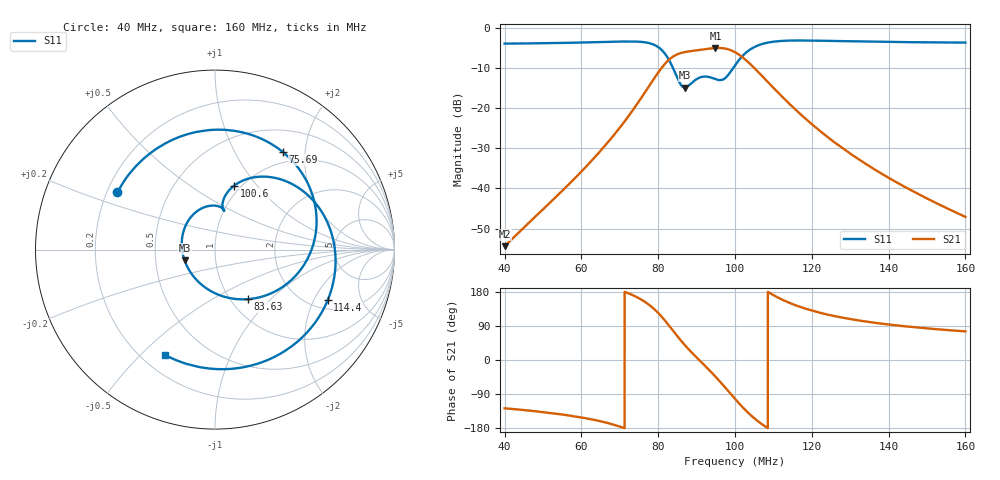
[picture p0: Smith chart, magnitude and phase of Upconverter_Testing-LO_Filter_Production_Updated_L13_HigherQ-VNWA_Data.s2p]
! ListType=Lin
# MHZ S DB R 50
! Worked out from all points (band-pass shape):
!   4096 points, 40 MHz to 160 MHz, reference 50 ohm
!   highest |S21| = -5.08 dB at 94.92 MHz (marker M1); lowest = -54.3 dB at 40 MHz (marker M2)
!   |S21| within 3 dB of the highest: 82.72 MHz to 102.8 MHz (20.11 MHz wide, 21.7 % of centre)
!   lowest |S11| = -14.9 dB at 86.89 MHz (marker M3), VSWR 1.44, Z = 35.3 - j4.33 ohm
!   |S11| at or under -10 dB: 83.82 MHz to 99.57 MHz (15.76 MHz wide, 17.2 % of centre)
!   S12 and S22 are empty: the file has one direction only
!   S11 on the Smith chart (normalised r, x): 40 MHz: 0.24, +0.26; 75.69 MHz: 0.82, +1.59; 83.63 MHz: 1.19, -0.74; 100.6 MHz: 0.93, +0.77; 114.4 MHz: 2.43, -2.59; 160 MHz: 0.29, -0.59
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40  -4.00 149.5  -54.34 -127.6  -3000.00 -90.0  -3000.00 -90.0
60.01465  -3.74 119.0  -35.77 -151.7  -3000.00 -90.0  -3000.00 -90.0
70.30037  -3.49 86.7  -24.52 -176.6  -3000.00 -90.0  -3000.00 -90.0
75.69231  -3.58 55.2  -17.35 158.9  -3000.00 -90.0  -3000.00 -90.0
77.8022  -3.92 36.4  -14.29 144.2  -3000.00 -90.0  -3000.00 -90.0
80  -4.86 10.1  -11.18 124.2  -3000.00 -90.0  -3000.00 -90.0
81.64103  -6.36 -15.7  -9.15 105.6  -3000.00 -90.0  -3000.00 -90.0
83.6337  -9.62 -56.8  -7.37 80.1  -3000.00 -90.0  -3000.00 -90.0
85.36264  -13.33 -106.3  -6.51 58.0  -3000.00 -90.0  -3000.00 -90.0
86.88645  -14.91 -160.7  -6.11 39.8  -3000.00 -90.0  -3000.00 -90.0
90.57875  -12.53 114.7  -5.60 0.9  -3000.00 -90.0  -3000.00 -90.0
94.91575  -12.83 77.5  -5.08 -44.0  -3000.00 -90.0  -3000.00 -90.0
97.55311  -12.49 79.8  -5.26 -73.9  -3000.00 -90.0  -3000.00 -90.0
100.0147  -9.39 76.7  -6.14 -102.8  -3000.00 -90.0  -3000.00 -90.0
100.6007  -8.62 73.5  -6.47 -109.5  -3000.00 -90.0  -3000.00 -90.0
104  -5.43 47.1  -9.11 -144.7  -3000.00 -90.0  -3000.00 -90.0
107.956  -3.88 15.5  -12.94 -176.0  -3000.00 -90.0  -3000.00 -90.0
114.4322  -3.25 -24.1  -19.21 149.7  -3000.00 -90.0  -3000.00 -90.0
120  -3.23 -48.1  -24.02 130.5  -3000.00 -90.0  -3000.00 -90.0
128  -3.39 -72.2  -29.98 111.7  -3000.00 -90.0  -3000.00 -90.0
140.0147  -3.58 -94.8  -37.34 93.7  -3000.00 -90.0  -3000.00 -90.0
160  -3.75 -115.5  -47.05 75.6  -3000.00 -90.0  -3000.00 -90.0
